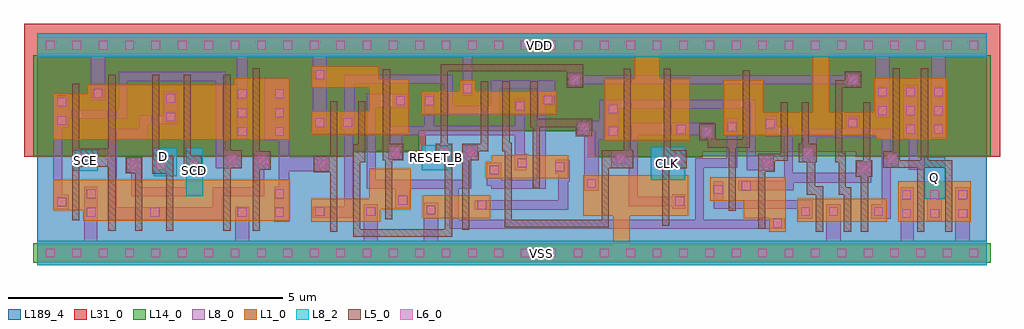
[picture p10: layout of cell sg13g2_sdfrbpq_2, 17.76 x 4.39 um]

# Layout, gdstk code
import gdstk
lib = gdstk.Library(unit=1e-6, precision=1e-09)
def R(c, l, rs):  # rectangles x0, y0, x1, y1
    for r in rs: c.add(gdstk.rectangle(r[:2], r[2:], *l))
def A(c, l, x, y, w, h, nx, ny, dx, dy):  # array of equal rectangles
    R(c, l, [(x+i*dx, y+j*dy, x+i*dx+w, y+j*dy+h) for i in range(nx) for j in range(ny)])
def P(c, l, *ps):  # polygons
    for p in ps: c.add(gdstk.Polygon(p, *l))
L1_0 = (1, 0)
L5_0 = (5, 0)
L6_0 = (6, 0)
L8_0 = (8, 0)
L8_2 = (8, 2)
L14_0 = (14, 0)
L31_0 = (31, 0)
L189_4 = (189, 4)

sg13g2_sdfrbpq_2 = lib.new_cell('sg13g2_sdfrbpq_2')
R(sg13g2_sdfrbpq_2, L1_0, [(0,-0.15,17.28,0.15), (13.83,0.57,15.46,0.99), (15.67,0.57,16.99,1.31), (7.015,0.635,8.245,1.055)])
P(sg13g2_sdfrbpq_2, L1_0, [(4.99,2.16),(4.99,2.58),(6.04,2.58),(6.04,3.01),(4.99,3.01),(4.99,3.395),(6.215,3.395),(6.215,3.16),(6.76,3.16),(6.76,2.16)],
  [(15.27,2.06),(15.27,2.145),(12.495,2.145),(12.495,3.145),(13.215,3.145),(13.215,2.565),(14.11,2.565),(14.11,3.63),(0,3.63),(0,3.93),(17.28,3.93),(17.28,3.63),(14.41,3.63),(14.41,2.565),(15.23,2.565),(15.23,3.18),(16.55,3.18),(16.55,2.06)],
  [(4.99,0.57),(4.99,0.99),(6.045,0.99),(6.045,1.535),(6.8,1.535),(6.8,0.795),(6.245,0.795),(6.245,0.57)],
  [(6.99,2.525),(6.99,2.945),(7.68,2.945),(7.68,3.14),(7.98,3.14),(7.98,2.945),(9.445,2.945),(9.445,2.525)],
  [(8.165,1.36),(8.165,1.66),(8.275,1.66),(8.275,1.78),(8.705,1.78),(8.705,1.79),(8.945,1.79),(8.945,1.78),(9.66,1.78),(9.66,1.36)],
  [(10.48,0.15),(10.48,0.675),(9.935,0.675),(9.935,1.415),(11.845,1.415),(11.845,0.675),(10.78,0.675),(10.78,0.15)],
  [(10.33,2.05),(10.33,3.17),(10.875,3.17),(10.875,3.63),(11.33,3.63),(11.33,3.17),(11.87,3.17),(11.87,2.05)],
  [(13.32,0.39),(13.32,0.635),(12.86,0.635),(12.86,0.955),(12.245,0.955),(12.245,1.375),(13.62,1.375),(13.62,0.39)],
  [(0.835,0.59),(0.835,0.78),(0.295,0.78),(0.295,1.33),(4.595,1.33),(4.595,0.59)],
  [(0.295,2.06),(0.295,2.9),(0.915,2.9),(0.915,3.06),(3.59,3.06),(3.59,3.18),(4.59,3.18),(4.59,2.06)])
R(sg13g2_sdfrbpq_2, L5_0, [(15.4,1.555,15.7,1.855)])
P(sg13g2_sdfrbpq_2, L5_0, [(5.33,0.39),(5.33,1.47),(5.035,1.47),(5.035,1.77),(5.33,1.77),(5.33,2.76),(5.46,2.76),(5.46,0.39)],
  [(6.33,0.615),(6.33,1.685),(6.29,1.685),(6.29,3.34),(6.42,3.34),(6.42,1.985),(6.665,1.985),(6.665,1.685),(6.46,1.685),(6.46,0.615)],
  [(5.75,0.295),(5.75,1.98),(5.84,1.98),(5.84,2.76),(5.97,2.76),(5.97,1.65),(5.88,1.65),(5.88,0.43),(7.42,0.43),(7.42,1.685),(7.25,1.685),(7.25,1.985),(7.34,1.985),(7.34,3.435),(9.935,3.435),(9.935,3.005),(9.635,3.005),(9.635,3.305),(7.47,3.305),(7.47,1.985),(7.55,1.985),(7.55,0.295)],
  [(7.735,0.425),(7.735,1.985),(8.075,1.985),(8.075,3.125),(8.205,3.125),(8.205,1.855),(8.035,1.855),(8.035,1.685),(7.865,1.685),(7.865,0.425)],
  [(9.015,1.18),(9.015,2.29),(8.975,2.29),(8.975,3.125),(9.105,3.125),(9.105,2.44),(10.1,2.44),(10.1,2.125),(9.8,2.125),(9.8,2.29),(9.145,2.29),(9.145,1.18)],
  [(8.505,0.465),(8.505,1.855),(8.465,1.855),(8.465,3.125),(8.595,3.125),(8.595,2.005),(8.635,2.005),(8.635,0.605),(10.275,0.605),(10.275,1.87),(10.675,1.87),(10.675,3.35),(10.805,3.35),(10.805,1.87),(10.85,1.87),(10.85,1.54),(10.405,1.54),(10.405,0.465)],
  [(11.375,0.495),(11.375,1.69),(11.4,1.69),(11.4,3.35),(11.53,3.35),(11.53,1.87),(11.82,1.87),(11.82,1.54),(11.505,1.54),(11.505,0.495)],
  [(12.585,0.765),(12.585,1.92),(12.2,1.92),(12.2,2.055),(12.045,2.055),(12.045,2.355),(12.345,2.355),(12.345,2.07),(12.835,2.07),(12.835,3.325),(12.965,3.325),(12.965,1.92),(12.715,1.92),(12.715,0.765)],
  [(14.17,0.39),(14.17,1.065),(14.005,1.065),(14.005,1.655),(13.855,1.655),(13.855,1.985),(13.91,1.985),(13.91,2.745),(14.04,2.745),(14.04,1.985),(14.185,1.985),(14.185,1.655),(14.155,1.655),(14.155,1.215),(14.3,1.215),(14.3,0.39)],
  [(1.78,0.41),(1.78,1.45),(1.61,1.45),(1.61,1.75),(1.91,1.75),(1.91,0.41)],
  [(13.12,0.445),(13.12,1.805),(13.53,1.805),(13.53,2.745),(13.66,2.745),(13.66,1.675),(13.42,1.675),(13.42,1.475),(13.25,1.475),(13.25,0.445)],
  [(16.01,0.39),(16.01,1.555),(15.57,1.555),(15.57,3.36),(15.7,3.36),(15.7,1.685),(16.08,1.685),(16.08,3.36),(16.21,3.36),(16.21,1.685),(16.65,1.685),(16.65,0.39),(16.52,0.39),(16.52,1.555),(16.14,1.555),(16.14,0.39)],
  [(14.99,0.39),(14.99,1.385),(14.895,1.385),(14.895,1.685),(15.03,1.685),(15.03,2.745),(15.16,2.745),(15.16,1.685),(15.195,1.685),(15.195,1.385),(15.12,1.385),(15.12,0.39)],
  [(14.68,0.39),(14.68,1.06),(14.585,1.06),(14.585,1.65),(14.52,1.65),(14.52,3.14),(14.695,3.14),(14.695,3.305),(14.995,3.305),(14.995,3.005),(14.65,3.005),(14.65,1.815),(14.715,1.815),(14.715,1.195),(14.81,1.195),(14.81,0.39)],
  [(3.92,0.41),(3.92,3.36),(4.05,3.36),(4.05,1.85),(4.25,1.85),(4.25,1.52),(4.05,1.52),(4.05,0.41)],
  [(2.35,0.41),(2.35,1.44),(2.09,1.44),(2.09,3.24),(2.22,3.24),(2.22,1.77),(2.48,1.77),(2.48,0.41)],
  [(3.39,0.41),(3.39,3.24),(3.52,3.24),(3.52,1.87),(3.72,1.87),(3.72,1.54),(3.52,1.54),(3.52,0.41)],
  [(2.665,1.44),(2.665,3.24),(2.795,3.24),(2.795,1.77),(2.995,1.77),(2.995,1.44)],
  [(1.295,0.41),(1.295,1.57),(0.765,1.57),(0.765,0.6),(0.635,0.6),(0.635,3.08),(0.765,3.08),(0.765,1.9),(1.295,1.9),(1.295,3.24),(1.425,3.24),(1.425,0.41)])
A(sg13g2_sdfrbpq_2, L6_0, 4.48, -0.08, 0.16, 0.16, 27, 2, 0.48, 3.78)
A(sg13g2_sdfrbpq_2, L6_0, 15.74, 0.64, 0.16, 0.16, 3, 2, 0.51, 0.34)
A(sg13g2_sdfrbpq_2, L6_0, 15.3, 2.51, 0.16, 0.16, 3, 2, 0.51, 0.34)
R(sg13g2_sdfrbpq_2, L6_0, [(0.16,-0.08,0.32,0.08), (0.16,-0.08,0.32,0.08), (0.64,-0.08,0.8,0.08), (0.64,-0.08,0.8,0.08), (1.12,-0.08,1.28,0.08), (1.12,-0.08,1.28,0.08), (1.6,-0.08,1.76,0.08), (1.6,-0.08,1.76,0.08), (2.08,-0.08,2.24,0.08), (2.08,-0.08,2.24,0.08), (2.56,-0.08,2.72,0.08), (2.56,-0.08,2.72,0.08), (3.04,-0.08,3.2,0.08), (3.04,-0.08,3.2,0.08), (3.52,-0.08,3.68,0.08), (3.52,-0.08,3.68,0.08), (4,-0.08,4.16,0.08), (4,-0.08,4.16,0.08), (4.48,-0.08,4.64,0.08), (13.39,0.46,13.55,0.62), (0.905,0.66,1.065,0.82), (2.06,0.66,2.22,0.82), (3.65,0.66,3.81,0.82), (4.33,0.66,4.49,0.82), (5.06,0.675,5.22,0.835), (5.99,0.675,6.15,0.835), (13.9,0.675,14.06,0.835), (14.41,0.675,14.57,0.835), (15.23,0.675,15.39,0.835), (7.085,0.705,7.245,0.865), (8.015,0.795,8.175,0.955), (0.365,0.85,0.525,1.01), (11.615,0.86,11.775,1.02), (6.57,0.88,6.73,1.04), (0.905,1,1.065,1.16), (4.33,1,4.49,1.16), (12.315,1.075,12.475,1.235), (12.825,1.145,12.985,1.305), (10.005,1.185,10.165,1.345), (8.235,1.43,8.395,1.59), (14.965,1.455,15.125,1.615), (9.43,1.49,9.59,1.65), (1.68,1.52,1.84,1.68), (2.17,1.52,2.33,1.68), (2.765,1.52,2.925,1.68), (5.105,1.54,5.265,1.7), (8.745,1.56,8.905,1.72), (13.19,1.56,13.35,1.72), (4.01,1.6,4.17,1.76), (3.47,1.62,3.63,1.78), (10.535,1.625,10.695,1.785), (11.575,1.625,11.735,1.785), (15.47,1.625,15.63,1.785), (0.705,1.65,0.865,1.81), (13.94,1.74,14.1,1.9), (6.435,1.755,6.595,1.915), (7.32,1.755,7.48,1.915), (7.805,1.755,7.965,1.915), (12.115,2.125,12.275,2.285), (3.65,2.13,3.81,2.29), (4.33,2.13,4.49,2.29), (10.4,2.135,10.56,2.295), (15.81,2.17,15.97,2.33), (16.32,2.17,16.48,2.33), (11.64,2.175,11.8,2.335), (9.87,2.2,10.03,2.36), (12.565,2.215,12.725,2.375), (13.26,2.275,13.42,2.435), (14.76,2.285,14.92,2.445), (5.06,2.29,5.22,2.45), (5.57,2.295,5.73,2.455), (0.365,2.33,0.525,2.49), (2.35,2.395,2.51,2.555), (3.65,2.47,3.81,2.63), (4.33,2.47,4.49,2.63), (10.4,2.54,10.56,2.7), (8.705,2.595,8.865,2.755), (0.365,2.67,0.525,2.83), (6.53,2.69,6.69,2.85), (7.06,2.69,7.22,2.85), (9.215,2.705,9.375,2.865), (2.35,2.735,2.51,2.895), (3.65,2.82,3.81,2.98), (4.33,2.82,4.49,2.98), (1.025,2.83,1.185,2.99), (7.75,2.91,7.91,3.07), (9.705,3.075,9.865,3.235), (14.765,3.075,14.925,3.235), (5.065,3.165,5.225,3.325), (0.16,3.7,0.32,3.86), (0.16,3.7,0.32,3.86), (0.64,3.7,0.8,3.86), (0.64,3.7,0.8,3.86), (1.12,3.7,1.28,3.86), (1.12,3.7,1.28,3.86), (1.6,3.7,1.76,3.86), (1.6,3.7,1.76,3.86), (2.08,3.7,2.24,3.86), (2.08,3.7,2.24,3.86), (2.56,3.7,2.72,3.86), (2.56,3.7,2.72,3.86), (3.04,3.7,3.2,3.86), (3.04,3.7,3.2,3.86), (3.52,3.7,3.68,3.86), (3.52,3.7,3.68,3.86), (4,3.7,4.16,3.86), (4,3.7,4.16,3.86), (4.48,3.7,4.64,3.86)])
R(sg13g2_sdfrbpq_2, L8_0, [(11.165,1.335,11.79,1.935), (2.12,1.4,2.535,1.92), (0.635,1.5,1.105,1.87), (7,1.51,7.55,1.965)])
P(sg13g2_sdfrbpq_2, L8_0, [(8.69,1.51),(8.69,2.145),(6.645,2.145),(6.645,1.705),(6.385,1.705),(6.385,2.305),(7.045,2.305),(7.045,2.9),(7.225,2.9),(7.225,2.315),(8.69,2.315),(8.69,2.805),(8.875,2.805),(8.875,1.81),(8.91,1.81),(8.91,1.51)],
  [(7.965,0.785),(7.965,0.96),(9.485,0.96),(9.485,1.44),(9.43,1.44),(9.43,1.7),(9.695,1.7),(9.695,1.3),(9.665,1.3),(9.665,0.785)],
  [(9.955,1.135),(9.955,2.15),(9.82,2.15),(9.82,2.41),(10.225,2.41),(10.225,2.79),(13.075,2.79),(13.075,1.77),(13.4,1.77),(13.4,1.51),(12.915,1.51),(12.915,2.63),(10.585,2.63),(10.585,2.06),(10.215,2.06),(10.215,1.135)],
  [(13.85,0.625),(13.85,0.805),(12.31,0.805),(12.31,1.31),(12.48,1.31),(12.48,0.965),(14.11,0.965),(14.11,0.625)],
  [(12.76,1.145),(12.76,1.315),(13.59,1.315),(13.59,2.125),(13.255,2.125),(13.255,2.5),(13.46,2.5),(13.46,2.295),(13.75,2.295),(13.75,1.465),(14.915,1.465),(14.915,1.665),(15.175,1.665),(15.175,1.275),(13.77,1.275),(13.77,1.145)],
  [(15.18,0.625),(15.18,0.885),(15.37,0.885),(15.37,2.1),(14.185,2.1),(14.185,1.655),(13.93,1.655),(13.93,2.26),(14.71,2.26),(14.71,2.495),(14.97,2.495),(14.97,2.26),(15.53,2.26),(15.53,1.835),(15.68,1.835),(15.68,1.575),(15.53,1.575),(15.53,0.625)],
  [(7.505,0.44),(7.505,1.17),(6.78,1.17),(6.78,0.815),(6.52,0.815),(6.52,1.17),(6,1.17),(6,2.9),(6.74,2.9),(6.74,2.64),(6.16,2.64),(6.16,1.33),(7.735,1.33),(7.735,1.965),(8.015,1.965),(8.015,1.755),(7.895,1.755),(7.895,1.17),(7.675,1.17),(7.675,0.605),(11.97,0.605),(11.97,1.725),(12.545,1.725),(12.545,2.45),(12.735,2.45),(12.735,1.555),(12.13,1.555),(12.13,0.605),(13.34,0.605),(13.34,0.625),(13.6,0.625),(13.6,0.44)],
  [(11.555,0.81),(11.555,0.855),(10.765,0.855),(10.765,1.54),(10.45,1.54),(10.45,1.87),(10.765,1.87),(10.765,2.37),(12.325,2.37),(12.325,2.075),(12.065,2.075),(12.065,2.145),(10.925,2.145),(10.925,1.025),(11.555,1.025),(11.555,1.07),(11.79,1.07),(11.79,0.81)],
  [(9.655,3.025),(9.655,3.285),(9.915,3.285),(9.915,3.235),(14.71,3.235),(14.71,3.285),(14.98,3.285),(14.98,3.025),(14.71,3.025),(14.71,3.075),(9.915,3.075),(9.915,3.025)],
  [(16.195,0.59),(16.195,0.99),(16.14,0.99),(16.14,1.52),(15.86,1.52),(15.86,2.085),(15.76,2.085),(15.76,3.06),(16.02,3.06),(16.02,1.74),(16.52,1.74),(16.52,0.99),(16.46,0.99),(16.46,0.59)],
  [(5.01,0.645),(5.01,0.84),(5.59,0.84),(5.59,2.24),(5.52,2.24),(5.52,2.52),(5.59,2.52),(5.59,3.24),(7.565,3.24),(7.565,2.68),(8.255,2.68),(8.255,3.145),(9.425,3.145),(9.425,2.685),(9.25,2.685),(9.25,1.17),(8.265,1.17),(8.265,1.225),(8.185,1.225),(8.185,1.64),(8.445,1.64),(8.445,1.33),(9.09,1.33),(9.09,2.985),(8.415,2.985),(8.415,2.52),(7.405,2.52),(7.405,3.08),(5.78,3.08),(5.78,2.24),(5.75,2.24),(5.75,0.645)],
  [(1.71,1.03),(1.71,1.47),(1.63,1.47),(1.63,1.73),(1.89,1.73),(1.89,1.2),(2.715,1.2),(2.715,1.92),(3.015,1.92),(3.015,1.03)],
  [(0.295,0.8),(0.295,2.88),(0.575,2.88),(0.575,2.6),(1.48,2.6),(1.48,3.295),(3.425,3.295),(3.425,1.87),(3.72,1.87),(3.72,1.54),(3.25,1.54),(3.25,3.125),(1.64,3.125),(1.64,2.44),(0.575,2.44),(0.575,2.28),(0.455,2.28),(0.455,1.06),(0.575,1.06),(0.575,0.8)],
  [(1.285,0.61),(1.285,2.26),(1.855,2.26),(1.855,2.505),(2.3,2.505),(2.3,2.945),(2.56,2.945),(2.56,2.345),(2.015,2.345),(2.015,2.08),(1.45,2.08),(1.45,0.83),(3.195,0.83),(3.195,1.2),(3.945,1.2),(3.945,1.85),(4.22,1.85),(4.22,1.52),(4.135,1.52),(4.135,1.03),(3.365,1.03),(3.365,0.61)],
  [(4.315,0.57),(4.315,1.21),(4.4,1.21),(4.4,2.04),(4.135,2.04),(4.135,3.2),(4.59,3.2),(4.59,1.75),(5.315,1.75),(5.315,1.49),(4.59,1.49),(4.59,0.57)],
  [(3.63,2.08),(3.63,3.56),(1.235,3.56),(1.235,2.78),(0.975,2.78),(0.975,3.56),(0,3.56),(0,4),(17.28,4),(17.28,3.56),(16.53,3.56),(16.53,2.1),(16.27,2.1),(16.27,3.56),(15.51,3.56),(15.51,2.46),(15.25,2.46),(15.25,3.56),(7.915,3.56),(7.915,2.86),(7.745,2.86),(7.745,3.56),(5.27,3.56),(5.27,2.215),(5.015,2.215),(5.015,3.56),(3.83,3.56),(3.83,2.08)],
  [(0,-0.22),(0,0.22),(0.855,0.22),(0.855,1.21),(1.09,1.21),(1.09,0.22),(3.6,0.22),(3.6,0.845),(3.86,0.845),(3.86,0.22),(5.94,0.22),(5.94,0.885),(6.2,0.885),(6.2,0.22),(7.035,0.22),(7.035,0.915),(7.295,0.915),(7.295,0.22),(14.36,0.22),(14.36,0.885),(14.62,0.885),(14.62,0.22),(15.71,0.22),(15.71,1.195),(15.95,1.195),(15.95,0.22),(16.71,0.22),(16.71,1.195),(16.97,1.195),(16.97,0.22),(17.28,0.22),(17.28,-0.22)])
R(sg13g2_sdfrbpq_2, L8_2, [(0,-0.22,17.28,0.22), (16.14,0.99,16.52,1.74), (2.715,1.03,3.015,1.92), (11.165,1.335,11.79,1.935), (2.12,1.4,2.535,1.92), (0.635,1.5,1.105,1.87), (7,1.51,7.55,1.965), (0,3.56,17.28,4)])
R(sg13g2_sdfrbpq_2, L14_0, [(-0.07,-0.18,17.35,0.18)])
P(sg13g2_sdfrbpq_2, L14_0, [(10.15,1.75),(10.15,2.225),(6.94,2.225),(6.94,1.835),(5.745,1.835),(5.745,1.76),(-0.07,1.76),(-0.07,3.6),(17.35,3.6),(17.35,1.76),(12.045,1.76),(12.045,1.75)])
P(sg13g2_sdfrbpq_2, L31_0, [(10.02,1.74),(10.02,2.215),(7.07,2.215),(7.07,1.85),(5.735,1.85),(5.735,1.75),(-0.24,1.75),(-0.24,4.17),(17.52,4.17),(17.52,1.75),(14.895,1.75),(14.895,1.835),(12.115,1.835),(12.115,1.74)])
R(sg13g2_sdfrbpq_2, L189_4, [(0,0,17.28,3.78)])
sg13g2_sdfrbpq_2.add(gdstk.Label('D', (2.305,1.75), layer=8, texttype=25))
sg13g2_sdfrbpq_2.add(gdstk.Label('Q', (16.335,1.375), layer=8, texttype=25))
sg13g2_sdfrbpq_2.add(gdstk.Label('RESET_B', (7.275,1.735), layer=8, texttype=25))
sg13g2_sdfrbpq_2.add(gdstk.Label('VDD', (9.14,3.78), layer=8, texttype=25))
sg13g2_sdfrbpq_2.add(gdstk.Label('VSS', (9.17,0), layer=8, texttype=25))
sg13g2_sdfrbpq_2.add(gdstk.Label('SCE', (0.87,1.685), layer=8, texttype=25))
sg13g2_sdfrbpq_2.add(gdstk.Label('CLK', (11.475,1.635), layer=8, texttype=25))
sg13g2_sdfrbpq_2.add(gdstk.Label('SCD', (2.86,1.505), layer=8, texttype=25))

lib.write_gds('sg13g2_sdfrbpq_2.gds')
